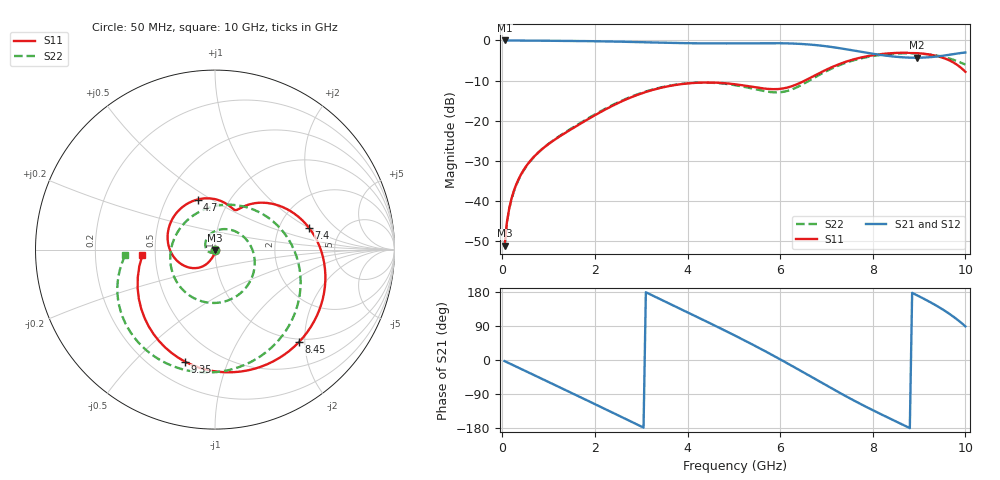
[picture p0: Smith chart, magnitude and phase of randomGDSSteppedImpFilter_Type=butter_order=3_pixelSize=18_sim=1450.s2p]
! freq	dB(S11)	phase(S11)	dB(S12)	phase(S12)
!  dB(S21)	phase(S21)	dB(S22)	phase(S22)
!S-par simulation data
#  GHz  S  DB  R 50
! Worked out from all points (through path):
!   200 points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, 50 MHz to 10 GHz, reference 50 ohm
!   highest |S21| = -0.01 dB at 50 MHz (marker M1); lowest = -4.3 dB at 8.95 GHz (marker M2)
!   group delay of S21, straight-line fit = 173 ps
!   lowest |S11| = -51.2 dB at 50 MHz (marker M3), VSWR 1.01, Z = 50 - j0.272 ohm
!   |S11| at or under -10 dB: start of sweep to 6.537 GHz
!   |S22| runs from -51.3 to -3.2 dB; largest |S21 - S12| = 0
!   S11 on the Smith chart (normalised r, x): 50 MHz: 1.00, -0.01; 4.7 GHz: 0.71, +0.43; 7.4 GHz: 2.94, +1.01; 8.45 GHz: 0.94, -1.88; 9.35 GHz: 0.33, -0.71; 10 GHz: 0.42, -0.03
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0.05  -51.25 -83.5  -0.01 -3.0  -0.01 -3.0  -51.35 -87.6
0.1  -45.34 -87.4  -0.01 -5.9  -0.01 -5.9  -45.46 -94.9
0.2  -39.44 -92.0  -0.02 -11.7  -0.02 -11.7  -39.59 -106.8
0.45  -32.53 -99.2  -0.04 -26.2  -0.04 -26.2  -32.65 -132.9
1.15  -24.63 -112.1  -0.09 -66.8  -0.09 -66.8  -24.53 156.0
1.75  -20.35 -121.0  -0.16 -101.8  -0.16 -101.8  -20.14 95.4
2.65  -14.83 -147.4  -0.34 -154.7  -0.34 -154.7  -14.68 16.8
3.4  -11.89 178.4  -0.55 161.1  -0.55 161.1  -11.79 -36.8
4.1  -10.64 141.6  -0.71 119.9  -0.71 119.9  -10.61 -81.6
4.7  -10.59 109.3  -0.75 84.2  -0.75 84.2  -10.69 -120.0
5.05  -10.97 91.6  -0.73 62.9  -0.73 62.9  -11.21 -144.7
5.55  -11.84 71.5  -0.68 31.4  -0.68 31.4  -12.40 172.3
5.95  -12.13 62.8  -0.69 5.2  -0.69 5.2  -12.96 126.7
6.7  -9.03 47.5  -1.08 -46.3  -1.08 -46.3  -9.55 36.0
7.4  -5.39 13.1  -2.15 -94.3  -2.15 -94.3  -5.66 -24.0
7.9  -3.89 -15.8  -3.14 -126.3  -3.14 -126.3  -4.10 -57.5
8.35  -3.22 -42.0  -3.89 -153.3  -3.89 -153.3  -3.40 -83.7
8.45  -3.15 -47.8  -4.02 -159.2  -4.02 -159.2  -3.32 -89.3
8.95  -3.16 -77.8  -4.32 171.1  -4.32 171.1  -3.26 -116.3
9.35  -3.80 -105.1  -4.06 145.1  -4.06 145.1  -3.71 -138.3
9.75  -5.57 -141.3  -3.40 113.5  -3.40 113.5  -4.87 -161.8
10  -7.83 -175.6  -3.01 88.8  -3.01 88.8  -6.01 -176.7
